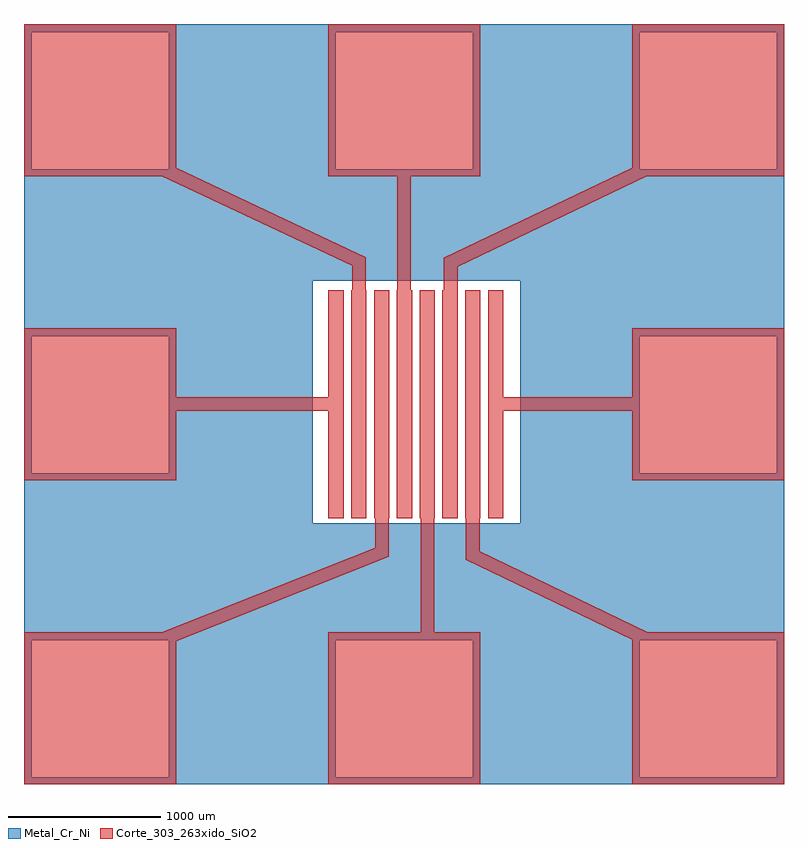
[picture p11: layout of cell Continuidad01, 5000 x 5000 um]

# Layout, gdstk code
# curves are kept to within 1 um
import gdstk
lib = gdstk.Library(unit=1e-6, precision=1e-06)
def P(c, l, *ps):  # polygons
    for p in ps: c.add(gdstk.Polygon(p, *l))
Corte_303_263xido_SiO2 = (1, 0)
Metal_Cr_Ni = (2, 0)

continuidad01 = lib.new_cell('Continuidad01')
P(continuidad01, Corte_303_263xido_SiO2, [(459871,1414),(459871,2914),(459971,2914),(459971,2209),(460818,2209),(460818,2664),(461818,2664),(461818,1664),(460818,1664),(460818,2119),(459971,2119),(459971,1414)],
  [(460818,-336),(460818,614),(459725,1138),(459725,1414),(459721,1414),(459721,2914),(459821,2914),(459821,1414),(459815,1414),(459815,1194),(460923,664),(461818,664),(461818,-336)],
  [(458818,-336),(458818,664),(459428,664),(459428,1414),(459421,1414),(459421,2914),(459521,2914),(459521,1414),(459518,1414),(459518,664),(459818,664),(459818,-336)],
  [(456818,-336),(456818,664),(457723,664),(459129,1219),(459129,1414),(459121,1414),(459121,2914),(459221,2914),(459221,1414),(459219,1414),(459219,1158),(457818,604),(457818,-336)],
  [(458821,1414),(458821,2119),(457818,2119),(457818,1664),(456818,1664),(456818,2664),(457818,2664),(457818,2209),(458821,2209),(458821,2914),(458921,2914),(458921,1414)],
  [(459571,1414),(459571,2914),(459580,2914),(459580,3125),(460818,3717),(460818,4664),(461818,4664),(461818,3664),(460916,3664),(459670,3068),(459671,1414)],
  [(459271,1414),(459271,2914),(459274,2914),(459274,3664),(458818,3664),(458818,4664),(459818,4664),(459818,3664),(459364,3664),(459364,2914),(459371,2914),(459371,1414)],
  [(458971,1414),(458971,2914),(458977,2914),(458977,3072),(457724,3664),(456818,3664),(456818,4664),(457818,4664),(457818,3719),(459067,3129),(459067,2914),(459071,2914),(459071,1414)])
P(continuidad01, Metal_Cr_Ni, [(456818,-336),(456818,610),(456869,610),(456869,-290),(457769,-290),(457769,610),(458869,610),(458869,-290),(459769,-290),(459769,610),(460869,610),(460869,-290),(461769,-290),(461769,610),(456818,610),(456818,2610),(456869,2610),(456869,1710),(457769,1710),(457769,2610),(456818,2610),(456818,2976),(458717,2976),(458717,1381),(460083,1381),(460083,2610),(460869,2610),(460869,1710),(461769,1710),(461769,2610),(460083,2610),(460083,2976),(456818,2976),(456818,4610),(456869,4610),(456869,3710),(457769,3710),(457769,4610),(458869,4610),(458869,3710),(459769,3710),(459769,4610),(460869,4610),(460869,3710),(461769,3710),(461769,4610),(456818,4610),(456818,4664),(461818,4664),(461818,-336)])

lib.write_gds('Continuidad01.gds')
